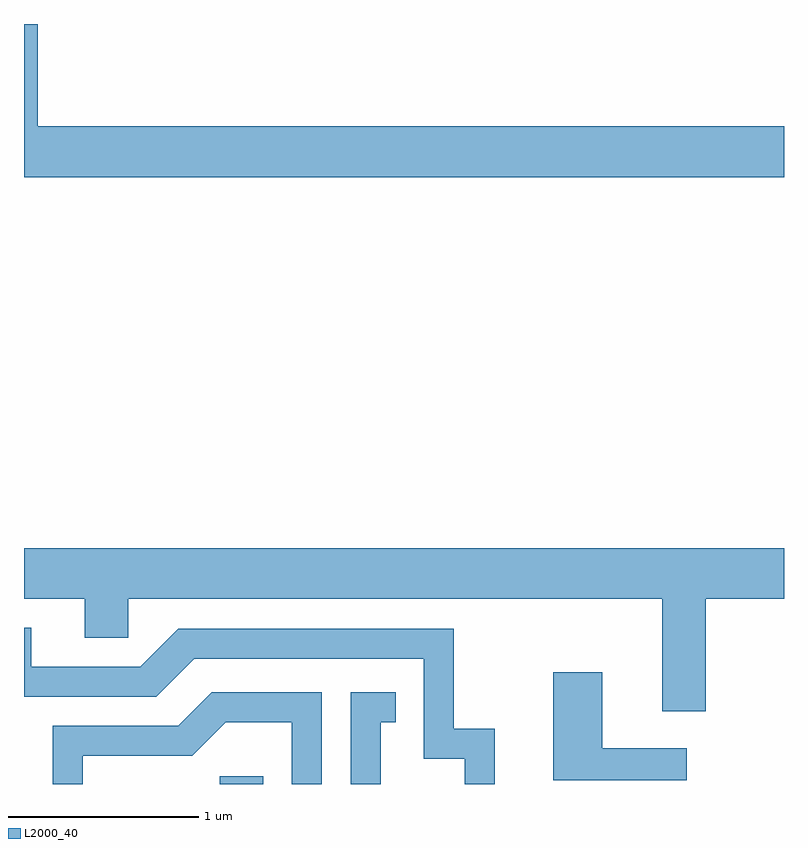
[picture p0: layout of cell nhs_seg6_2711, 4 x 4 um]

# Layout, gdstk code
import gdstk
lib = gdstk.Library(unit=1e-6, precision=1e-09)
def R(c, l, rs):  # rectangles x0, y0, x1, y1
    for r in rs: c.add(gdstk.rectangle(r[:2], r[2:], *l))
def P(c, l, *ps):  # polygons
    for p in ps: c.add(gdstk.Polygon(p, *l))
L2000_40 = (2000, 40)

nhs_seg6_2711 = lib.new_cell('nhs_seg6_2711')
R(nhs_seg6_2711, L2000_40, [(268.641,1560.162,268.869,1560.204)])
P(nhs_seg6_2711, L2000_40, [(271.611,1563.624),(267.684,1563.624),(267.684,1564.162),(267.611,1564.162),(267.611,1563.356),(271.611,1563.356)],
  [(267.611,1561.136),(267.931,1561.136),(267.931,1560.931),(268.159,1560.931),(268.159,1561.136),(270.971,1561.136),(270.971,1560.546),(271.199,1560.546),(271.199,1561.136),(271.611,1561.136),(271.611,1561.404),(267.611,1561.404)],
  [(270.089,1560.454),(269.874,1560.454),(269.874,1560.979),(268.424,1560.979),(268.224,1560.779),(267.649,1560.779),(267.649,1560.984),(267.611,1560.984),(267.611,1560.621),(268.307,1560.621),(268.507,1560.821),(269.716,1560.821),(269.716,1560.296),(269.931,1560.296),(269.931,1560.162),(270.089,1560.162)],
  [(271.098,1560.349),(270.654,1560.349),(270.654,1560.749),(270.396,1560.749),(270.396,1560.181),(271.098,1560.181)],
  [(269.489,1560.486),(269.568,1560.486),(269.568,1560.644),(269.331,1560.644),(269.331,1560.162),(269.489,1560.162)],
  [(267.919,1560.311),(268.497,1560.311),(268.672,1560.486),(269.021,1560.486),(269.021,1560.162),(269.179,1560.162),(269.179,1560.644),(268.599,1560.644),(268.424,1560.469),(267.761,1560.469),(267.761,1560.162),(267.919,1560.162)])

lib.write_gds('nhs_seg6_2711.gds')
